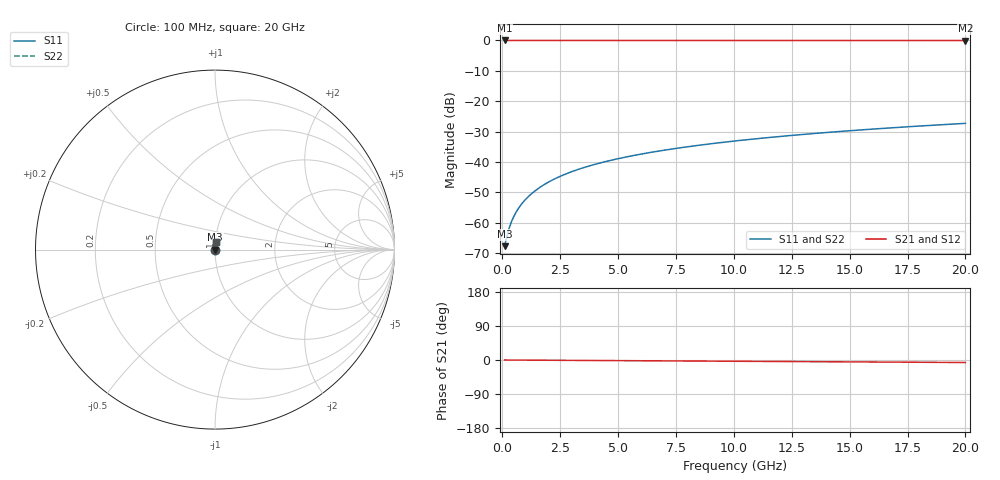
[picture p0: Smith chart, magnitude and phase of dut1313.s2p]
! Touchstone file exported from HFSS 2026.1.0
!  File:  C:/ffzhzh/LocalFiles/Ansys_Project_Files/temp_train_TSV_1313_1783194982_51560.aedt
!  Generated:  03:57:59 AM Jul  5, 2026
!  Design:  TSV
!  Project:  temp_train_TSV_1313_1783194982_51560
! Variables:
!  h_bsmrdl = 2um
!  h_ox = 20um
!  h_rdl = 5um
!  h_sub = 59.35um
!  h_tmrdl = 5um
!  h_tsv = 59.35um
!  h_via = 3um
!  l_bsmrdl = 300um
!  l_sub = 409.72um
!  l_tmrdl = 200um
!  m_sub = 200um
!  pitch = 33.67um
!  r_tsv = 4.86um
!  s_tmrdl = 10um
!  w_bsmrdl = 18um
!  w_sub = 500um
!  w_tmrdl = 12um
!  x_tsv_center1 = 206um
!  x_tsv_center2 = 524um
!  x_tsv_center3 = 736um
!  x_tsv_center4 = 1054um
!  x_tsv_center5 = 1266um
!  x_tsv_center6 = 1584um
# GHz S MA R 50.000000
! Terminal data exported
! Port[1] = TSV1_1_T1
! Port[2] = TSV1_1_T2
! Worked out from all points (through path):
!   200 points, 100 MHz to 20 GHz, reference 50 ohm
!   highest |S21| = 0.00 dB at 100 MHz (marker M1); lowest = 0.0 dB at 20 GHz (marker M2)
!   lowest |S11| = -67.8 dB at 100 MHz (marker M3), VSWR 1.00, Z = 50 + j0.0252 ohm
!   |S11| at or under -10 dB: start of sweep to end of sweep
!   |S22| runs from -67.8 to -27.3 dB; largest |S21 - S12| = 3e-15
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0.1  0.0004092 37.9  0.9997 -0.0  0.9997 -0.0  0.0004092 37.9
! Gamma 0 0 0 0
! Port Impedance 50 0 50 0
0.2  0.0006007 56.2  0.9997 -0.1  0.9997 -0.1  0.0006007 56.2
0.3  0.0008193 64.8  0.9997 -0.1  0.9997 -0.1  0.0008193 64.8
0.4  0.001044 69.5  0.9996 -0.1  0.9996 -0.1  0.001044 69.5
0.5  0.001269 72.6  0.9996 -0.2  0.9996 -0.2  0.001269 72.6
0.6  0.001495 74.7  0.9996 -0.2  0.9996 -0.2  0.001495 74.7
0.8  0.001946 77.5  0.9996 -0.3  0.9996 -0.3  0.001946 77.5
1.1  0.002623 80.0  0.9996 -0.4  0.9996 -0.4  0.002623 80.0
1.3  0.003076 81.0  0.9995 -0.4  0.9995 -0.4  0.003076 81.0
1.6  0.003756 82.1  0.9995 -0.5  0.9995 -0.5  0.003756 82.1
2.1  0.004886 83.1  0.9995 -0.7  0.9995 -0.7  0.004886 83.1
2.7  0.006233 83.6  0.9994 -0.9  0.9994 -0.9  0.006233 83.6
3.5  0.008012 84.0  0.9993 -1.2  0.9993 -1.2  0.008012 84.0
4.2  0.009551 84.0  0.9992 -1.4  0.9992 -1.4  0.009551 84.0
5  0.01129 84.1  0.9991 -1.7  0.9991 -1.7  0.01129 84.1
5.9  0.01324 84.0  0.999 -2.0  0.999 -2.0  0.01324 84.0
6.8  0.01517 83.9  0.9989 -2.3  0.9989 -2.3  0.01517 83.9
8.3  0.01838 83.8  0.9987 -2.8  0.9987 -2.8  0.01838 83.8
10.1  0.02221 83.5  0.9985 -3.4  0.9985 -3.4  0.02221 83.5
13.4  0.02921 82.8  0.9982 -4.4  0.9982 -4.4  0.02921 82.8
16.7  0.03617 82.0  0.9978 -5.5  0.9978 -5.5  0.03617 82.0
20  0.04309 81.1  0.9973 -6.6  0.9973 -6.6  0.04309 81.1
